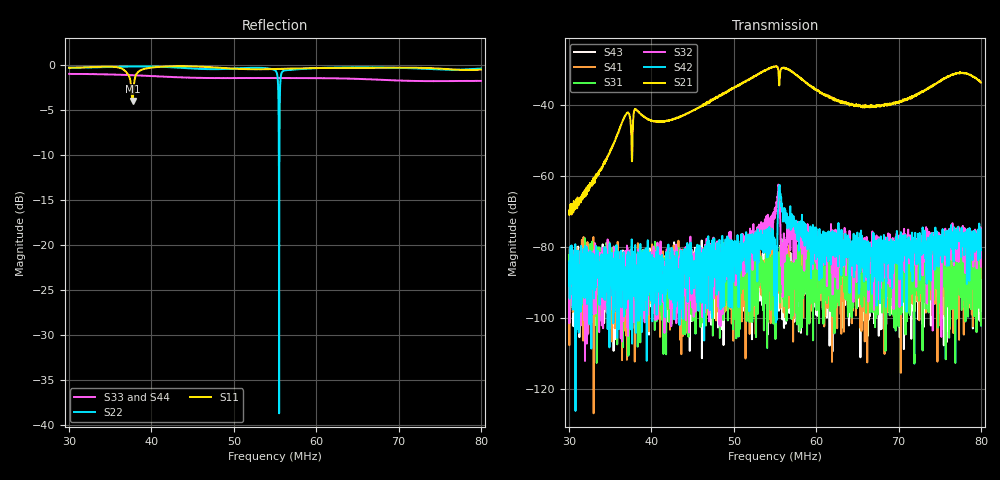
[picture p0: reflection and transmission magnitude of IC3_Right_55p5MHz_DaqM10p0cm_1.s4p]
#  HZ  S  DB  R  50.00
! Rohde & Schwarz Vector Network Analyzer
! Rohde-Schwarz,ZNB8-4Port,1311601044102961,2.82
! Created: UTC 2/13/2019, 2:23:38 PM
! freq[Hz]  db:S11  ang:S11  db:S12  ang:S12  db:S13  ang:S13  db:S14  ang:S14
!  db:S21  ang:S21  db:S22  ang:S22  db:S23  ang:S23  db:S24  ang:S24
!  db:S31  ang:S31  db:S32  ang:S32  db:S33  ang:S33  db:S34  ang:S34
!  db:S41  ang:S41  db:S42  ang:S42  db:S43  ang:S43  db:S44  ang:S44
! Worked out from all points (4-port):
!   2001 points, 30 MHz to 80 MHz, reference 50 ohm
!   strongest paths, dB at 30 MHz, 42.5 MHz, 55 MHz, 67.5 MHz, 80 MHz:
!     S21: -69.8, -44.0, -29.1, -39.9, -33.7
!     S42: -84.0, -92.7, -79.8, -85.9, -80.5
!     S32: -86.1, -81.5, -70.3, -81.2, -85.5
!     S31: -82.2, -101.5, -83.6, -99.0, -102.1
!     S41: -84.3, -84.4, -89.9, -95.2, -88.8
!     S43: -85.1, -90.7, -105.5, -82.5, -80.5
!   lowest |S11| = -3.9 dB at 37.7 MHz (marker M1), VSWR 4.48, Z = 103 - j105 ohm
!   |S11| at or under -10 dB: nowhere
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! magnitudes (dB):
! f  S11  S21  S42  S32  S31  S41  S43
! 30 MHz  -0.3  -69.8  -84.0  -86.1  -82.2  -84.3  -85.1
! 37.7 MHz  -3.9  -49.4  -84.3  -82.3  -89.4  -82.1  -85.1
! 50.8 MHz  -0.4  -34.2  -81.1  -79.1  -83.6  -91.6  -86.8
! 55.33 MHz  -0.4  -29.3  -72.9  -66.1  -92.4  -89.6  -81.4
! 55.95 MHz  -0.4  -29.6  -69.1  -94.0  -84.8  -83.8  -91.1
! 65.65 MHz  -0.3  -40.2  -85.7  -81.2  -83.4  -89.3  -98.8
! 80 MHz  -0.5  -33.7  -80.5  -85.5  -102.1  -88.8  -80.5
